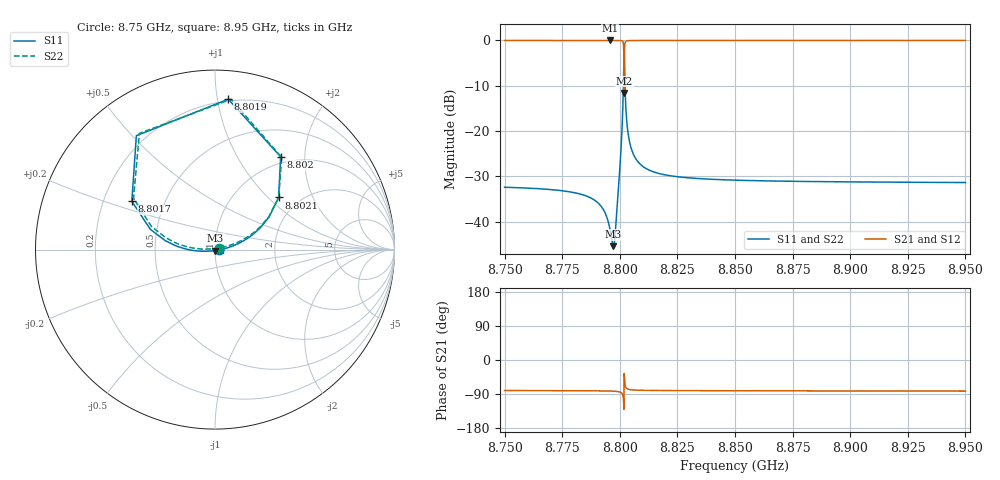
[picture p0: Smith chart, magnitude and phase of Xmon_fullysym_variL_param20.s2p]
! Sonnet Data File
! From: emgraph Version : 16.52
! From Project: 171117_Xmon_fullysym
! Data is De-embedded
! Data File Written: 11/26/2017 17:14:24
!< HDATE 11/22/2017 16:48:52
!< MDATE 11/23/2017 10:16:42
!< PARAMS
!< Lj = 11.0
!< Gap = 1.0
!< Pwid = 2000.0
!< Airgap = 6.0
!< Width = 10.0
!< Lj1 = 9.8
!< END PARAMS
# GHZ S MA R 50.90000
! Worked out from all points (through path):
!   2001 points, 8.75 GHz to 8.95 GHz, reference 50.9 ohm
!   highest |S21| = 0.00 dB at 8.7958 GHz (marker M1); lowest = -11.6 dB at 8.8019 GHz (marker M2)
!   lowest |S11| = -45.4 dB at 8.7972 GHz (marker M3), VSWR 1.01, Z = 51 - j0.54 ohm
!   |S11| at or under -10 dB: start of sweep to 8.8015 GHz; 8.8023 GHz to end of sweep
!   |S22| runs from -45.0 to -1.5 dB; largest |S21 - S12| = 7.1e-11
!   S11 on the Smith chart (normalised r, x): 8.75 GHz: 1.05, -0.00; 8.8017 GHz: 0.32, +0.24; 8.8019 GHz: 0.19, +1.07; 8.802 GHz: 0.89, +1.54; 8.8021 GHz: 1.58, +1.16; 8.95 GHz: 1.06, -0.00
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8.75  0.02404 -2.9  0.9997 -80.5  0.9997 -80.5  0.02404 22.0
!< P1 F=8.75 Eeff=(6.44841643 -2.9796e-5) Z0=(50.9085185 1.17018e-4) R=0.0 C=0.0
!< P2 F=8.75 Eeff=(6.44841643 -2.9796e-5) Z0=(50.9085185 1.17018e-4) R=0.0 C=0.0
8.7834  0.02003 -6.3  0.9998 -81.0  0.9998 -81.0  0.02004 24.2
8.7918  0.01492 -12.3  0.9999 -81.4  0.9999 -81.4  0.01493 29.6
8.7958  0.008132 -33.1  0.9999 -81.9  0.9999 -81.9  0.008217 49.9
8.7972  0.005381 -80.0  0.9999 -82.3  0.9999 -82.3  0.005593 95.5
8.798  0.007403 -125.9  0.9998 -82.6  0.9998 -82.6  0.007626 139.1
8.7989  0.01541 -152.7  0.9996 -83.1  0.9996 -83.1  0.0156 164.7
8.8001  0.04204 -167.6  0.9984 -84.7  0.9984 -84.7  0.04223 176.2
8.8008  0.08573 -174.3  0.9943 -87.2  0.9943 -87.2  0.08598 177.2
8.8012  0.1506 179.8  0.9836 -91.0  0.9836 -91.0  0.151 174.5
8.8017  0.5357 149.9  0.7839 -114.5  0.7839 -114.5  0.5367 147.7
8.8019  0.8412 85.0  0.2643 -35.4  0.2643 -35.4  0.8426 83.9
8.802  0.6333 54.7  0.6913 -43.4  0.6913 -43.4  0.6344 54.2
8.8021  0.4585 39.4  0.8538 -55.1  0.8538 -55.1  0.4592 39.3
8.8029  0.1398 14.9  0.9881 -74.3  0.9881 -74.3  0.1399 18.2
8.8039  0.08432 9.8  0.9959 -77.5  0.9959 -77.5  0.08439 16.0
8.8059  0.05555 5.9  0.9983 -79.2  0.9983 -79.2  0.05557 16.0
8.8167  0.03424 0.9  0.9994 -80.5  0.9994 -80.5  0.03424 18.1
8.85  0.02877 -1.6  0.9996 -81.1  0.9996 -81.1  0.02877 19.3
8.8834  0.02778 -2.5  0.9996 -81.5  0.9996 -81.5  0.02778 19.4
8.9167  0.02735 -3.0  0.9996 -81.8  0.9996 -81.8  0.02735 19.4
8.95  0.02709 -3.6  0.9996 -82.2  0.9996 -82.2  0.02709 19.2
